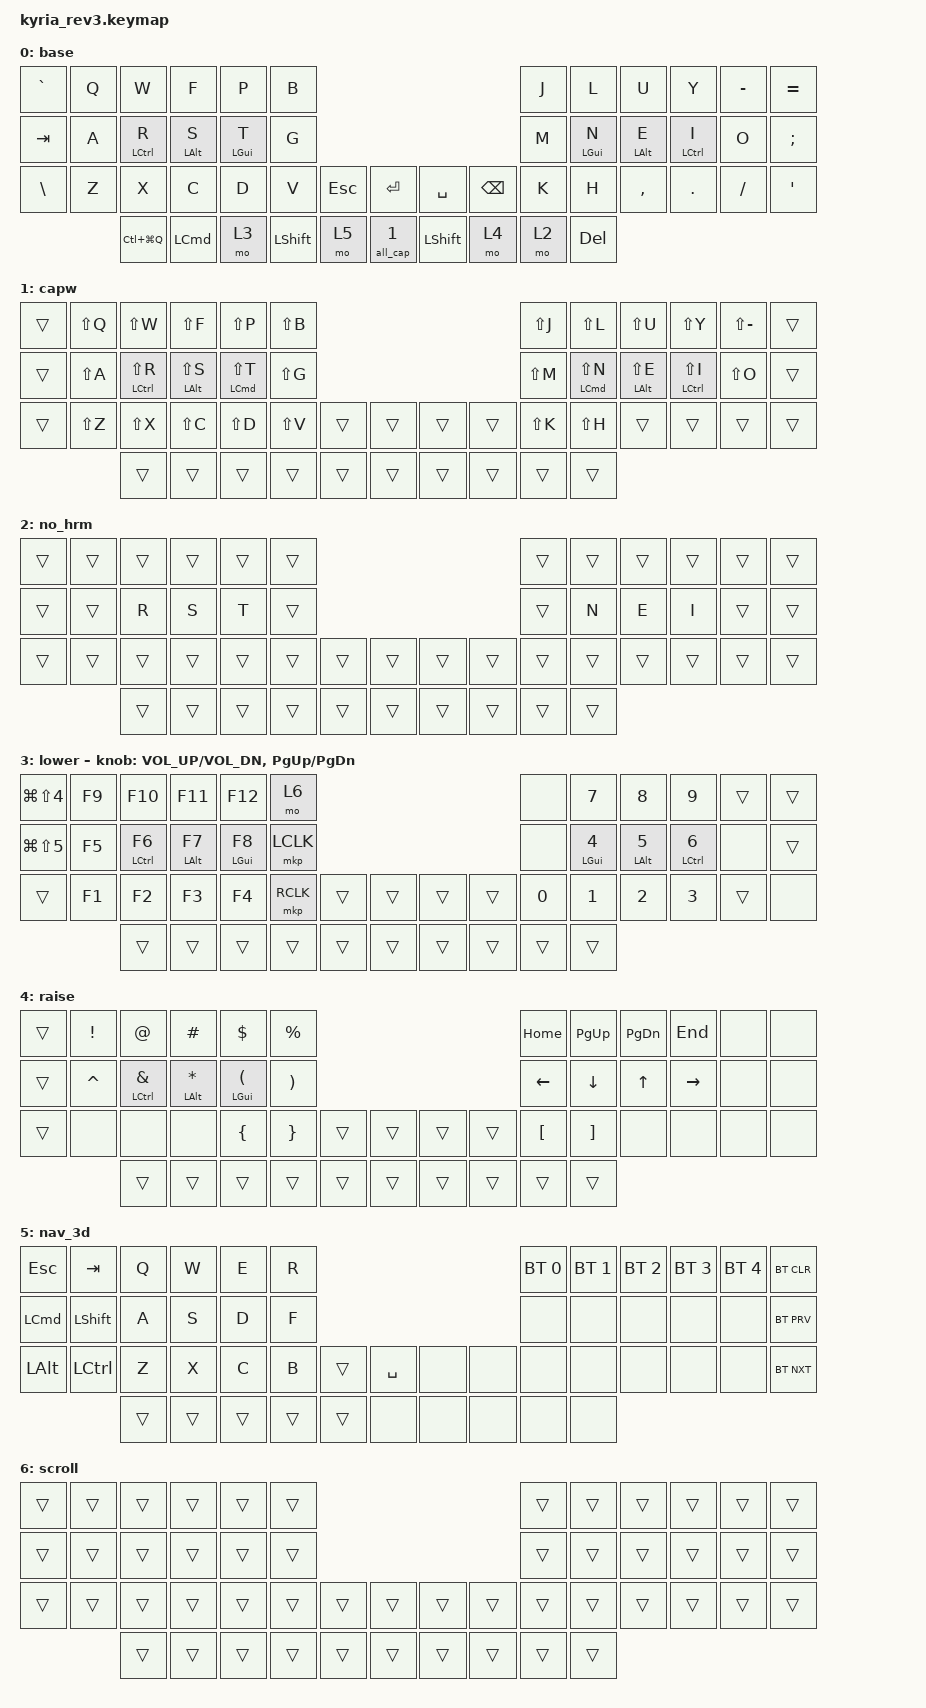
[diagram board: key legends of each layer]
/*
 * Copyright (c) 2023 The ZMK Contributors
 *
 * SPDX-License-Identifier: MIT
 */

#include <input/processors.dtsi>
#include <behaviors.dtsi>
#include <dt-bindings/zmk/bt.h>
#include <dt-bindings/zmk/keys.h>
#include <dt-bindings/zmk/pointing.h>

/* Uncomment this block if using RGB
&led_strip {
    chain-length = <6>;
    // chain-length = <31>; // Uncomment if using both per-key and underglow LEDs
    // chain-length = <25>; // Uncomment if using only per-key LEDs.
};
 */

/ {
    behaviors {
        all_cap: all_cap {
            compatible = "zmk,behavior-auto-layer";
            #binding-cells = <1>;
            continue-list = <BACKSPACE UNDERSCORE N0 N1 N2 N3 N4 N5 N6 N7 N8 N9>;
            ignore-alphas;
        };

        hml: homewrow_mods_left {
            compatible = "zmk,behavior-hold-tap";
            label = "HOMEROW_MODS_LEFT_HAND";
            bindings = <&kp>, <&kp>;

            #binding-cells = <2>;
            tapping-term-ms = <280>;
            require-prior-idle-ms = <150>;
            flavor = "balanced";
            hold-trigger-key-positions = <6 6 7 8 9 10 11 18 19 20 21 22 23 34 35 36 37 38 39 32 33 45 46 47 48 49>;
            hold-trigger-on-release;
        };

        hmr: homewrow_mods_right {
            compatible = "zmk,behavior-hold-tap";
            label = "HOMEWROW_MODS_RIGHT";
            bindings = <&kp>, <&kp>;

            #binding-cells = <2>;
            tapping-term-ms = <280>;
            require-prior-idle-ms = <150>;
            flavor = "balanced";
            hold-trigger-key-positions = <0 1 2 3 4 5 12 13 14 15 16 17 24 25 26 27 28 29 40 41 42 43 31 43 44 30>;
            hold-trigger-on-release;
        };
    };

    keymap {
        compatible = "zmk,keymap";

        default_layer {
            display-name = "base";
            bindings = <
&kp GRAVE      &kp Q  &kp W                &kp F             &kp P            &kp B                                                                  &kp J  &kp L            &kp U            &kp Y                &kp MINUS  &kp EQUAL
&kp TAB        &kp A  &hml LEFT_CONTROL R  &hml LEFT_ALT S   &hml LEFT_GUI T  &kp G                                                                  &kp M  &hmr LEFT_GUI N  &hmr LEFT_ALT E  &hmr LEFT_CONTROL I  &kp O      &kp SEMICOLON
&kp BACKSLASH  &kp Z  &kp X                &kp C             &kp D            &kp V           &kp ESCAPE  &kp ENTER   &kp SPACE       &kp BACKSPACE  &kp K  &kp H            &kp COMMA        &kp DOT              &kp SLASH  &kp SQT
                      &kp LC(LG(Q))        &kp LEFT_COMMAND  &mo 3            &kp LEFT_SHIFT  &mo 5       &all_cap 1  &kp LEFT_SHIFT  &mo 4          &mo 2  &kp DELETE
            >;
        };

        caps-word {
            display-name = "capw";
            bindings = <
&trans  &kp LS(Q)  &kp LS(W)                &kp LS(F)            &kp LS(P)                &kp LS(B)                                  &kp LS(J)  &kp LS(L)                &kp LS(U)            &kp LS(Y)                &kp LS(MINUS)  &trans
&trans  &kp LS(A)  &hml LEFT_CONTROL LS(R)  &hml LEFT_ALT LS(S)  &hml LEFT_COMMAND LS(T)  &kp LS(G)                                  &kp LS(M)  &hmr LEFT_COMMAND LS(N)  &hmr LEFT_ALT LS(E)  &hmr LEFT_CONTROL LS(I)  &kp LS(O)      &trans
&trans  &kp LS(Z)  &kp LS(X)                &kp LS(C)            &kp LS(D)                &kp LS(V)  &trans  &trans  &trans  &trans  &kp LS(K)  &kp LS(H)                &trans               &trans                   &trans         &trans
                   &trans                   &trans               &trans                   &trans     &trans  &trans  &trans  &trans  &trans     &trans
            >;
        };

        no_hrm {
            display-name = "no_hrm";
            bindings = <
&trans  &trans  &trans  &trans  &trans  &trans                                  &trans  &trans  &trans  &trans  &trans  &trans
&trans  &trans  &kp R   &kp S   &kp T   &trans                                  &trans  &kp N   &kp E   &kp I   &trans  &trans
&trans  &trans  &trans  &trans  &trans  &trans  &trans  &trans  &trans  &trans  &trans  &trans  &trans  &trans  &trans  &trans
                &trans  &trans  &trans  &trans  &trans  &trans  &trans  &trans  &trans  &trans
            >;
        };

        lower {
            display-name = "lower";
            bindings = <
&kp LG(LS(NUMBER_4))  &kp F9  &kp F10               &kp F11           &kp F12           &mo 6                                      &none         &kp N7            &kp N8            &kp N9                &trans  &trans
&kp LG(LS(NUMBER_5))  &kp F5  &hml LEFT_CONTROL F6  &hml LEFT_ALT F7  &hml LEFT_GUI F8  &mkp LCLK                                  &none         &hmr LEFT_GUI N4  &hmr LEFT_ALT N5  &hmr LEFT_CONTROL N6  &none   &trans
&trans                &kp F1  &kp F2                &kp F3            &kp F4            &mkp RCLK  &trans  &trans  &trans  &trans  &kp NUMBER_0  &kp NUMBER_1      &kp NUMBER_2      &kp NUMBER_3          &trans  &none
                              &trans                &trans            &trans            &trans     &trans  &trans  &trans  &trans  &trans        &trans
            >;

            sensor-bindings = <&inc_dec_kp C_VOL_UP C_VOL_DN &inc_dec_kp PG_UP PG_DN>;
        };

        raise {
            display-name = "raise";
            bindings = <
&trans  &kp EXCLAMATION  &kp AT                       &kp HASH                &kp DOLLAR                      &kp PERCENT                                            &kp HOME          &kp PAGE_UP        &kp PAGE_DOWN  &kp END          &none  &none
&trans  &kp CARET        &hml LEFT_CONTROL AMPERSAND  &hml LEFT_ALT ASTERISK  &hml LEFT_GUI LEFT_PARENTHESIS  &kp RIGHT_PARENTHESIS                                  &kp LEFT_ARROW    &kp DOWN_ARROW     &kp UP_ARROW   &kp RIGHT_ARROW  &none  &none
&trans  &none            &none                        &none                   &kp LEFT_BRACE                  &kp RIGHT_BRACE        &trans  &trans  &trans  &trans  &kp LEFT_BRACKET  &kp RIGHT_BRACKET  &none          &none            &none  &none
                         &trans                       &trans                  &trans                          &trans                 &trans  &trans  &trans  &trans  &trans            &trans
            >;
        };

        nav3d_layer {
            display-name = "nav_3d";
            bindings = <
&kp ESCAPE        &kp TAB    &kp Q   &kp W   &kp E   &kp R                                    &bt BT_SEL 0  &bt BT_SEL 1  &bt BT_SEL 2  &bt BT_SEL 3  &bt BT_SEL 4  &bt BT_CLR
&kp LEFT_COMMAND  &kp LSHFT  &kp A   &kp S   &kp D   &kp F                                    &none         &none         &none         &none         &none         &bt BT_PRV
&kp LEFT_ALT      &kp LCTRL  &kp Z   &kp X   &kp C   &kp B   &trans  &kp SPACE  &none  &none  &none         &none         &none         &none         &none         &bt BT_NXT
                             &trans  &trans  &trans  &trans  &trans  &none      &none  &none  &none         &none
            >;
        };

        scroll {
            display-name = "scroll";
            bindings = <
&trans  &trans  &trans  &trans  &trans  &trans                                  &trans  &trans  &trans  &trans  &trans  &trans
&trans  &trans  &trans  &trans  &trans  &trans                                  &trans  &trans  &trans  &trans  &trans  &trans
&trans  &trans  &trans  &trans  &trans  &trans  &trans  &trans  &trans  &trans  &trans  &trans  &trans  &trans  &trans  &trans
                &trans  &trans  &trans  &trans  &trans  &trans  &trans  &trans  &trans  &trans
            >;
        };
    };
};
